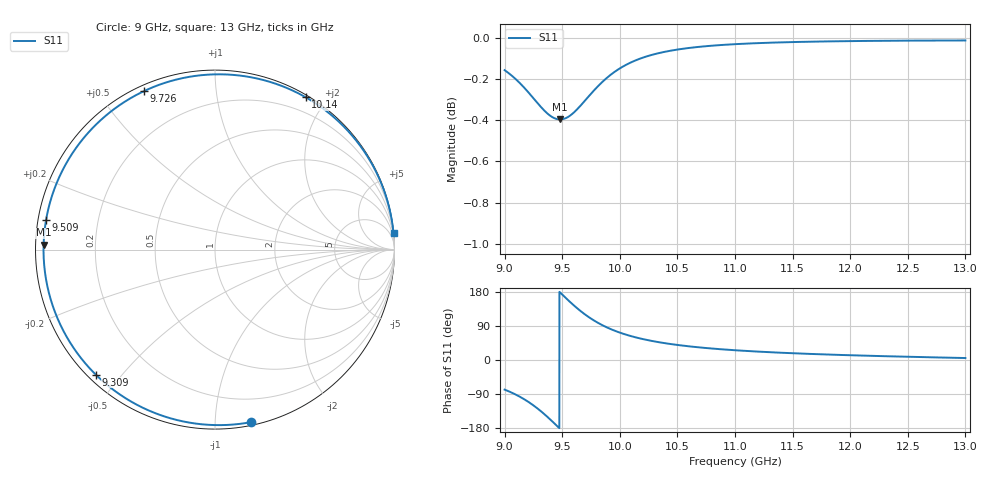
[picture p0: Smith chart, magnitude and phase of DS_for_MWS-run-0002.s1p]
! TOUCHSTONE file generated by CST DESIGN STUDIO
! Date and time: Tue Feb  4 18:26:20 2025
! Project name: C:\Work\MatlabApps\UnitCellOptimizationMatlab\CST\unitcell.cst
! Tree item: Tasks\Sweep1\SPara1\S-Parameters
! Header version: 2024
! Port assignment regex: !\s*Touchstone port\s*([0-9]+)\s*=\s*(CST MWS port|CST DES external port|CST DES block port)\s*(.+)\s* \(\"(.*)\"\)(\s*mode\s*([0-9]+))?.*
! Touchstone port assignment:
! Touchstone port 1 = CST DES external port 1 ("")
# GHz S MA R 50
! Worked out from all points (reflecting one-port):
!   4001 points, 9 GHz to 13 GHz, reference 50 ohm
!   lowest |S11| = -0.4 dB at 9.481 GHz (marker M1), VSWR 43.85, Z = 1.14 + j0.726 ohm
!   phase of S11 starts at -78 deg and turns -277 deg over the sweep
!   S11 on the Smith chart (normalised r, x): 9 GHz: 0.02, -1.23; 9.309 GHz: 0.02, -0.43; 9.509 GHz: 0.02, +0.09; 9.726 GHz: 0.02, +0.65; 10.14 GHz: 0.03, +1.76; 13 GHz: 0, +22
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9  0.9821 -78.2
9.078  0.9783 -88.5
9.176  0.9721 -104.7
9.245  0.9672 -118.6
9.309  0.9625 -133.6
9.354  0.9596 -145.3
9.402  0.9571 -158.6
9.442  0.9558 -170.2
9.481  0.9554 178.3
9.5  0.9555 172.7
9.509  0.9556 170.1
9.561  0.9571 155.1
9.621  0.9603 138.8
9.673  0.9638 125.9
9.726  0.9676 114.1
9.781  0.9714 103.3
9.842  0.9753 92.9
9.92  0.9796 81.7
10  0.9831 72.3
10.144  0.9877 59.2
10.305  0.991 48.8
10.5  0.9935 39.7
10.722  0.9952 32.3
11  0.9965 25.8
11.5  0.9977 17.9
12  0.9982 12.6
12.5  0.9985 8.5
13  0.9986 5.2
